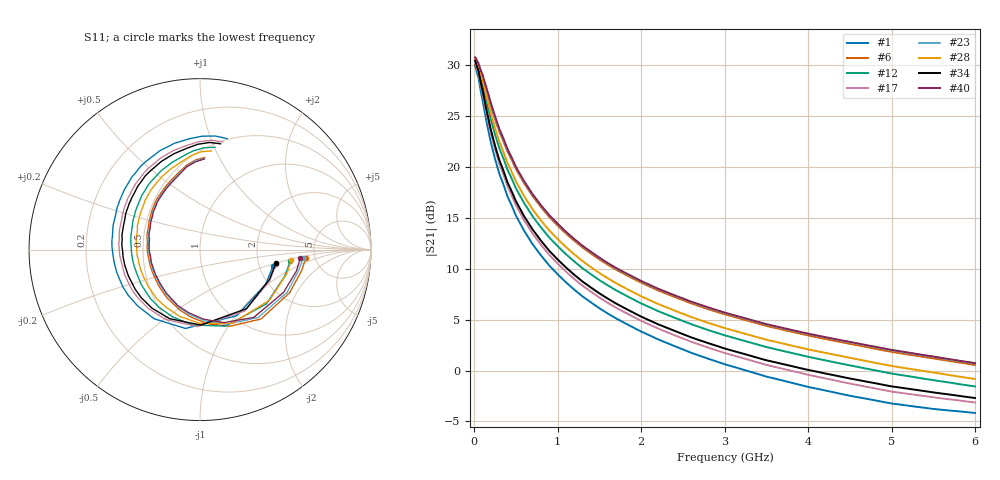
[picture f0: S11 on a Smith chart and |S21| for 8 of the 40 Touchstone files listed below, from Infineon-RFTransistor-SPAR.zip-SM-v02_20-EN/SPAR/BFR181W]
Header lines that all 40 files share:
! Infineon Technologies  Discrete & RF Semiconductors
! BFR181W
! Common Emitter S-Parameters:  Jan 2017
# GHz  S  MA  R  50
!  f  S11  S21  S12  S22
! GHz  MAG  ANG  MAG  ANG  MAG  ANG  MAG  ANG
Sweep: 10 MHz to 6 GHz
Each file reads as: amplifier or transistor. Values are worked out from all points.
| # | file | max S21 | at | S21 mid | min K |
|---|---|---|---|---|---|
| 1 | BFR181W_VCE_3.0V_IC_26mA.s2p | 29.9 dB | 10 MHz | 3.1 dB at 2.2 GHz | 0.46 |
| 2 | BFR181W_VCE_3.0V_IC_27mA.s2p | 29.9 dB | 10 MHz | 2.8 dB at 2.2 GHz | 0.46 |
| 3 | BFR181W_VCE_3.0V_IC_28mA.s2p | 29.8 dB | 10 MHz | 2.5 dB at 2.2 GHz | 0.50 |
| 4 | BFR181W_VCE_3.0V_IC_29mA.s2p | 29.8 dB | 10 MHz | 2.2 dB at 2.2 GHz | 0.53 |
| 5 | BFR181W_VCE_3.0V_IC_30mA.s2p | 29.8 dB | 10 MHz | 1.9 dB at 2.2 GHz | 0.55 |
| 6 | BFR181W_VCE_4.0V_IC_16mA.s2p | 30.0 dB | 10 MHz | 7.9 dB at 2.2 GHz | 0.12 |
| 7 | BFR181W_VCE_4.0V_IC_17mA.s2p | 30.2 dB | 10 MHz | 7.6 dB at 2.2 GHz | 0.16 |
| 8 | BFR181W_VCE_4.0V_IC_18mA.s2p | 30.3 dB | 10 MHz | 7.3 dB at 2.2 GHz | 0.19 |
| 9 | BFR181W_VCE_4.0V_IC_19mA.s2p | 30.4 dB | 10 MHz | 7.0 dB at 2.2 GHz | 0.14 |
| 10 | BFR181W_VCE_4.0V_IC_20mA.s2p | 30.4 dB | 10 MHz | 6.6 dB at 2.2 GHz | 0.24 |
| 11 | BFR181W_VCE_4.0V_IC_21mA.s2p | 30.4 dB | 10 MHz | 6.2 dB at 2.2 GHz | 0.27 |
| 12 | BFR181W_VCE_4.0V_IC_22mA.s2p | 30.4 dB | 10 MHz | 5.8 dB at 2.2 GHz | 0.29 |
| 13 | BFR181W_VCE_4.0V_IC_23mA.s2p | 30.4 dB | 10 MHz | 5.5 dB at 2.2 GHz | 0.31 |
| 14 | BFR181W_VCE_4.0V_IC_24mA.s2p | 30.3 dB | 10 MHz | 5.1 dB at 2.2 GHz | 0.33 |
| 15 | BFR181W_VCE_4.0V_IC_25mA.s2p | 30.3 dB | 10 MHz | 4.8 dB at 2.2 GHz | 0.34 |
| 16 | BFR181W_VCE_4.0V_IC_26mA.s2p | 30.3 dB | 10 MHz | 4.4 dB at 2.2 GHz | 0.38 |
| 17 | BFR181W_VCE_4.0V_IC_27mA.s2p | 30.2 dB | 10 MHz | 4.1 dB at 2.2 GHz | 0.40 |
| 18 | BFR181W_VCE_4.0V_IC_28mA.s2p | 30.2 dB | 10 MHz | 3.8 dB at 2.2 GHz | 0.43 |
| 19 | BFR181W_VCE_4.0V_IC_29mA.s2p | 30.1 dB | 10 MHz | 3.5 dB at 2.2 GHz | 0.45 |
| 20 | BFR181W_VCE_4.0V_IC_30mA.s2p | 30.1 dB | 10 MHz | 3.2 dB at 2.2 GHz | 0.45 |
| 21 | BFR181W_VCE_5.0V_IC_16mA.s2p | 30.0 dB | 10 MHz | 8.4 dB at 2.2 GHz | 0.16 |
| 22 | BFR181W_VCE_5.0V_IC_17mA.s2p | 30.2 dB | 10 MHz | 8.2 dB at 2.2 GHz | 0.04 |
| 23 | BFR181W_VCE_5.0V_IC_18mA.s2p | 30.4 dB | 10 MHz | 8.0 dB at 2.2 GHz | 0.06 |
| 24 | BFR181W_VCE_5.0V_IC_19mA.s2p | 30.5 dB | 10 MHz | 7.8 dB at 2.2 GHz | 0.21 |
| 25 | BFR181W_VCE_5.0V_IC_20mA.s2p | 30.6 dB | 10 MHz | 7.5 dB at 2.2 GHz | 0.12 |
| 26 | BFR181W_VCE_5.0V_IC_21mA.s2p | 30.6 dB | 10 MHz | 7.2 dB at 2.2 GHz | 0.17 |
| 27 | BFR181W_VCE_5.0V_IC_22mA.s2p | 30.6 dB | 10 MHz | 6.9 dB at 2.2 GHz | 0.14 |
| 28 | BFR181W_VCE_5.0V_IC_23mA.s2p | 30.6 dB | 10 MHz | 6.5 dB at 2.2 GHz | 0.20 |
| 29 | BFR181W_VCE_5.0V_IC_24mA.s2p | 30.6 dB | 10 MHz | 6.2 dB at 2.2 GHz | 0.29 |
| 30 | BFR181W_VCE_5.0V_IC_25mA.s2p | 30.6 dB | 10 MHz | 5.8 dB at 2.2 GHz | 0.27 |
| 31 | BFR181W_VCE_5.0V_IC_26mA.s2p | 30.6 dB | 10 MHz | 5.5 dB at 2.2 GHz | 0.32 |
| 32 | BFR181W_VCE_5.0V_IC_27mA.s2p | 30.5 dB | 10 MHz | 5.2 dB at 2.2 GHz | 0.35 |
| 33 | BFR181W_VCE_5.0V_IC_28mA.s2p | 30.5 dB | 10 MHz | 4.9 dB at 2.2 GHz | 0.37 |
| 34 | BFR181W_VCE_5.0V_IC_29mA.s2p | 30.4 dB | 10 MHz | 4.5 dB at 2.2 GHz | 0.39 |
| 35 | BFR181W_VCE_5.0V_IC_30mA.s2p | 30.3 dB | 10 MHz | 4.2 dB at 2.2 GHz | 0.41 |
| 36 | BFR181W_VCE_6.0V_IC_16mA.s2p | 30.1 dB | 10 MHz | 8.6 dB at 2.2 GHz | -0.02 |
| 37 | BFR181W_VCE_6.0V_IC_17mA.s2p | 30.3 dB | 10 MHz | 8.5 dB at 2.2 GHz | 0.14 |
| 38 | BFR181W_VCE_6.0V_IC_18mA.s2p | 30.5 dB | 10 MHz | 8.4 dB at 2.2 GHz | 0.06 |
| 39 | BFR181W_VCE_6.0V_IC_19mA.s2p | 30.6 dB | 10 MHz | 8.2 dB at 2.2 GHz | 0.13 |
| 40 | BFR181W_VCE_6.0V_IC_20mA.s2p | 30.7 dB | 10 MHz | 8.0 dB at 2.2 GHz | 0.13 |

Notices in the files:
Hoja de datos/BFP 450/Infineon-RFTransistor-SPAR.zip-SM-v02_20-EN/SPAR/BFR181W/BFR181W_VCE_3.0V_IC_26mA.s2p:
(c) 2017  Infineon Technologies AG, Munich
